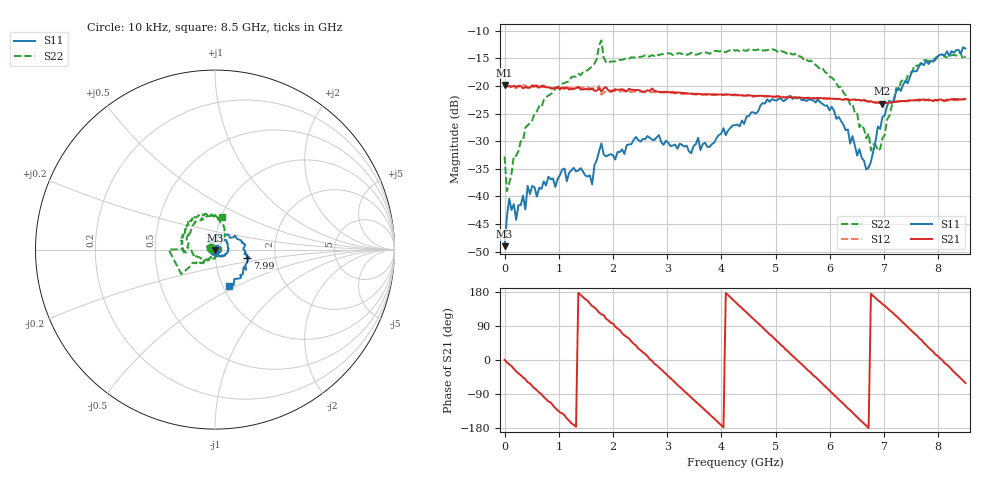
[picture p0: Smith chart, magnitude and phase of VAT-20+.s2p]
#  HZ  S  RI  R  50.00
! Rohde & Schwarz Vector Network Analyzer
! Rohde-Schwarz,ZNB8-4Port,REDACTED,3.12
! Created: UTC 3/23/2026, 9:49:24 PM
! VAT-20+
! freq[Hz]  re:S11  im:S11  re:S21  im:S21  re:S12  im:S12  re:S22  im:S22
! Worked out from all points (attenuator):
!   201 points, 10 kHz to 8.5 GHz, reference 50 ohm
!   highest |S21| = -19.83 dB at 10 kHz (marker M1); lowest = -23.2 dB at 6.97 GHz (marker M2)
!   lowest |S11| = -49.0 dB at 10 kHz (marker M3), VSWR 1.01, Z = 50.1 - j0.346 ohm
!   |S11| at or under -10 dB: start of sweep to end of sweep
!   |S22| runs from -39.1 to -11.8 dB; largest |S21 - S12| = 0.0095
!   S11 on the Smith chart (normalised r, x): 10 kHz: 1.00, -0.01; 7.99 GHz: 1.43, -0.14; 8.5 GHz: 1.07, -0.46
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10000  0.000802 -0.00345  0.1019 0.000657  0.0968 -0.00114  -0.0213 0.00864
4.250995e7  -0.00657 0.000222  0.0987 -0.0107  0.0987 -0.0106  -0.0106 -0.00347
8.50099e7  -0.00856 0.00422  0.0972 -0.0199  0.0977 -0.0195  -0.00872 -0.00987
2.125098e8  -0.00273 0.0055  0.0854 -0.0493  0.085 -0.0441  -0.012 -0.02
3.825096e8  -0.00232 0.00725  0.0622 -0.0756  0.0629 -0.0784  -0.0233 -0.0349
4.250095e8  -0.000261 0.0125  0.0502 -0.0819  0.0503 -0.0836  -0.0236 -0.0372
6.375092e8  0.00114 0.0119  0.00697 -0.0962  0.00549 -0.0963  -0.0367 -0.0543
1.445008e9  0.00851 0.0145  -0.09 0.0228  -0.0942 0.0223  -0.1087 -0.0765
1.615008e9  0.0061 0.0113  -0.0745 0.0576  -0.0743 0.0587  -0.1289 -0.0775
1.785008e9  0.0181 0.0242  -0.0448 0.0766  -0.0365 0.0751  -0.2583 0.000193
1.912508e9  0.0185 0.0147  -0.0234 0.0882  -0.0218 0.0866  -0.1597 -0.018
2.847507e9  0.035 -0.00751  0.0833 -0.0295  0.0825 -0.0294  -0.1823 0.0511
3.442506e9  0.00714 -0.0235  -0.0135 -0.0843  -0.0126 -0.0836  -0.1765 0.0949
4.250005e9  -0.0321 0.0303  -0.0752 0.0369  -0.0743 0.0359  -0.1449 0.1501
5.695003e9  0.0741 0.00169  0.0586 -0.0509  0.0592 -0.0498  0.0267 0.1586
6.035003e9  0.0562 -0.0322  0.00436 -0.0764  0.00441 -0.0768  0.0532 0.1066
6.672502e9  -0.0172 0.00328  -0.0723 -0.00864  -0.0729 -0.00779  0.0251 0.0222
6.970002e9  -0.00528 0.0522  -0.0584 0.037  -0.0598 0.0376  0.0212 -0.026
7.097502e9  0.0162 0.0718  -0.0472 0.0525  -0.0484 0.0525  -0.0179 -0.0505
7.310001e9  0.0521 0.074  -0.0177 0.0709  -0.0178 0.0705  -0.1024 -0.0378
7.990001e9  0.1791 -0.0485  0.0731 0.0134  0.0721 0.0121  -0.1198 0.1403
8.5e9  0.0771 -0.2042  0.0371 -0.0668  0.0365 -0.0667  0.0362 0.1822
